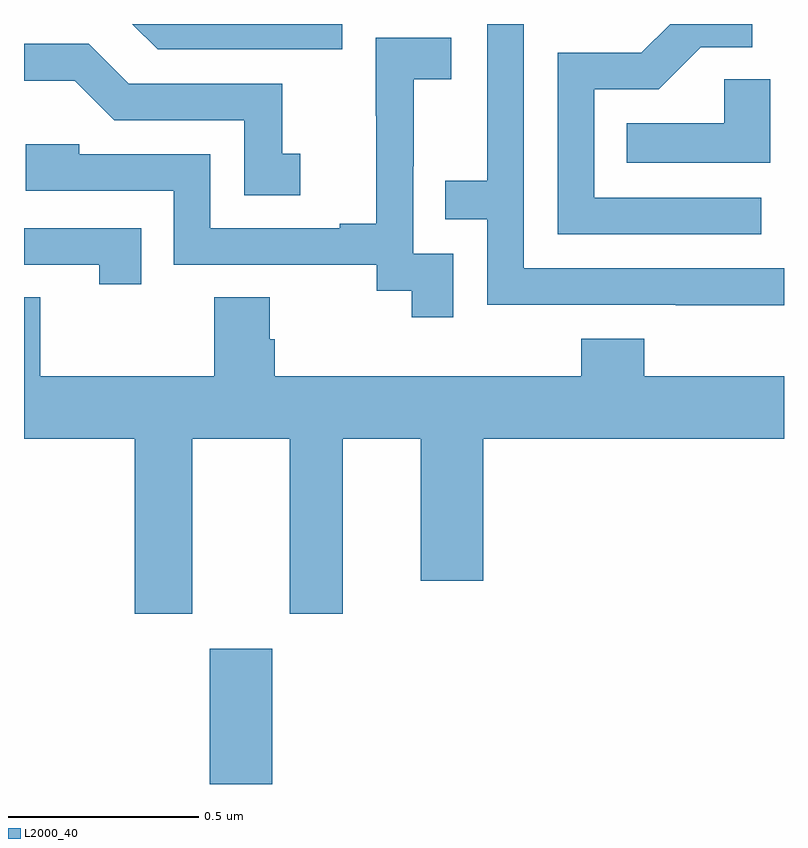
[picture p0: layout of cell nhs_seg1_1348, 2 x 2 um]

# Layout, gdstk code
import gdstk
lib = gdstk.Library(unit=1e-6, precision=1e-09)
def R(c, l, rs):  # rectangles x0, y0, x1, y1
    for r in rs: c.add(gdstk.rectangle(r[:2], r[2:], *l))
def P(c, l, *ps):  # polygons
    for p in ps: c.add(gdstk.Polygon(p, *l))
L2000_40 = (2000, 40)

nhs_seg1_1348 = lib.new_cell('nhs_seg1_1348')
R(nhs_seg1_1348, L2000_40, [(128.489,508.199,128.653,508.555)])
P(nhs_seg1_1348, L2000_40, [(128.838,510.199),(128.285,510.199),(128.352,510.132),(128.838,510.132)],
  [(130,509.556),(129.315,509.556),(129.315,510.199),(129.219,510.199),(129.219,509.786),(129.109,509.786),(129.109,509.685),(129.219,509.685),(129.219,509.46),(129.715,509.46),(129.715,509.459),(130,509.459)],
  [(129.94,509.742),(129.501,509.742),(129.501,510.027),(129.67,510.027),(129.781,510.138),(129.916,510.138),(129.916,510.199),(129.7,510.199),(129.624,510.123),(129.405,510.123),(129.405,509.646),(129.94,509.646)],
  [(129.129,509.595),(129.024,509.595),(129.024,509.825),(129.026,509.825),(129.026,510.053),(129.124,510.053),(129.124,510.163),(128.926,510.163),(128.926,509.957),(128.927,509.957),(128.927,509.674),(128.831,509.674),(128.831,509.661),(128.49,509.661),(128.49,509.856),(128.145,509.856),(128.145,509.883),(128.005,509.883),(128.005,509.76),(128.394,509.76),(128.394,509.565),(128.928,509.565),(128.928,509.497),(129.021,509.497),(129.021,509.427),(129.129,509.427)],
  [(128.727,509.857),(128.679,509.857),(128.679,510.042),(128.275,510.042),(128.17,510.147),(128,510.147),(128,510.05),(128.134,510.05),(128.238,509.946),(128.58,509.946),(128.58,509.748),(128.727,509.748)],
  [(129.964,510.053),(129.843,510.053),(129.843,509.938),(129.586,509.938),(129.586,509.834),(129.964,509.834)],
  [(128.309,509.661),(128,509.661),(128,509.565),(128.198,509.565),(128.198,509.514),(128.309,509.514)],
  [(128.443,509.108),(128.699,509.108),(128.699,508.647),(128.839,508.647),(128.839,509.108),(129.044,509.108),(129.044,508.734),(129.208,508.734),(129.208,509.108),(130,509.108),(130,509.272),(129.632,509.272),(129.632,509.371),(129.467,509.371),(129.467,509.272),(128.66,509.272),(128.66,509.37),(128.647,509.37),(128.647,509.48),(128.5,509.48),(128.5,509.272),(128.043,509.272),(128.043,509.48),(128,509.48),(128,509.108),(128.291,509.108),(128.291,508.647),(128.443,508.647)])

lib.write_gds('nhs_seg1_1348.gds')
